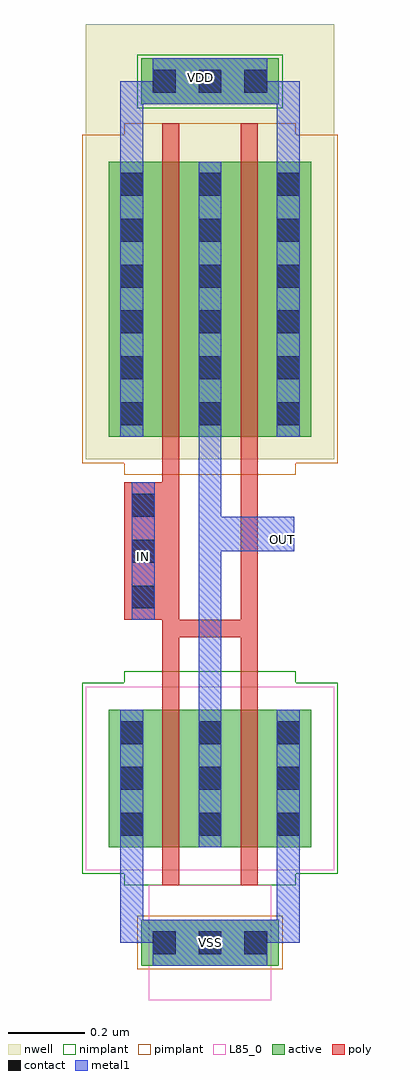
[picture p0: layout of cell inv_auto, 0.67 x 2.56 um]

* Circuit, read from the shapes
.subckt inv_auto IN OUT VDD VSS
M1 OUT IN VSS VSS nfet w=0.36u l=0.045u m=2
M2 OUT IN VDD VDD pfet w=0.72u l=0.045u m=2
.ends

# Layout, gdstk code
import gdstk
lib = gdstk.Library(unit=1e-6, precision=5e-10)
def R(c, l, rs):  # rectangles x0, y0, x1, y1
    for r in rs: c.add(gdstk.rectangle(r[:2], r[2:], *l))
def A(c, l, x, y, w, h, nx, ny, dx, dy):  # array of equal rectangles
    R(c, l, [(x+i*dx, y+j*dy, x+i*dx+w, y+j*dy+h) for i in range(nx) for j in range(ny)])
active = (1, 0)
nwell = (2, 0)
poly = (3, 0)
nimplant = (4, 0)
pimplant = (5, 0)
contact = (6, 0)
metal1 = (7, 0)
L85_0 = (85, 0)

pmos1v_cdns_764809496360 = lib.new_cell('pmos1v_CDNS_764809496360')
R(pmos1v_cdns_764809496360, active, [(-0.14,0,0,0.72), (0,0,0.045,0.72), (0.045,0,0.205,0.72), (0.205,0,0.25,0.72), (0.25,0,0.39,0.72)])
R(pmos1v_cdns_764809496360, nwell, [(-0.2,-0.06,0.45,0.78)])
R(pmos1v_cdns_764809496360, poly, [(0,-0.1,0.045,-0.05), (0.205,-0.1,0.25,-0.05), (0,-0.05,0.045,0), (0.205,-0.05,0.25,0), (0,0,0.045,0.72), (0.205,0,0.25,0.72), (0,0.72,0.045,0.77), (0.205,0.72,0.25,0.77), (0,0.77,0.045,0.82), (0.205,0.77,0.25,0.82)])
R(pmos1v_cdns_764809496360, pimplant, [(-0.1,-0.1,0.35,0.82), (-0.21,-0.07,0.46,0.79)])
A(pmos1v_cdns_764809496360, contact, -0.11, 0.03, 0.06, 0.06, 3, 6, 0.205, 0.12)
A(pmos1v_cdns_764809496360, metal1, -0.11, 0, 0.06, 0.72, 3, 1, 0.205, 0)
pmos1v_cdns_764809496360.add(gdstk.Label('S_source_2', (0.32,0.36), layer=1, texttype=0))
pmos1v_cdns_764809496360.add(gdstk.Label('S_source_0', (-0.07,0.36), layer=1, texttype=0))
pmos1v_cdns_764809496360.add(gdstk.Label('G_gate_2', (0.2275,-0.075), layer=3, texttype=0))
pmos1v_cdns_764809496360.add(gdstk.Label('G_gate_2', (0.2275,0.795), layer=3, texttype=0))
pmos1v_cdns_764809496360.add(gdstk.Label('G_gate_1', (0.0225,-0.075), layer=3, texttype=0))
pmos1v_cdns_764809496360.add(gdstk.Label('G_gate_1', (0.0225,0.795), layer=3, texttype=0))
pmos1v_cdns_764809496360.add(gdstk.Label('S_source_2', (0.33,0.36), layer=7, texttype=0))
pmos1v_cdns_764809496360.add(gdstk.Label('D_drain_1', (0.125,0.36), layer=7, texttype=0))
pmos1v_cdns_764809496360.add(gdstk.Label('S_source_0', (-0.08,0.36), layer=7, texttype=0))
pmos1v_cdns_764809496360.add(gdstk.Label('B', (0.125,0.36), layer=2, texttype=0))

nmos1v_cdns_764809496361 = lib.new_cell('nmos1v_CDNS_764809496361')
R(nmos1v_cdns_764809496361, active, [(-0.14,0,0,0.36), (0,0,0.045,0.36), (0.045,0,0.205,0.36), (0.205,0,0.25,0.36), (0.25,0,0.39,0.36)])
R(nmos1v_cdns_764809496361, poly, [(0,-0.1,0.045,-0.05), (0.205,-0.1,0.25,-0.05), (0,-0.05,0.045,0), (0.205,-0.05,0.25,0), (0,0,0.045,0.36), (0.205,0,0.25,0.36), (0,0.36,0.045,0.41), (0.205,0.36,0.25,0.41), (0,0.41,0.045,0.46), (0.205,0.41,0.25,0.46)])
R(nmos1v_cdns_764809496361, nimplant, [(-0.1,-0.1,0.35,0.46), (-0.21,-0.07,0.46,0.43)])
A(nmos1v_cdns_764809496361, contact, -0.11, 0.03, 0.06, 0.06, 3, 3, 0.205, 0.12)
A(nmos1v_cdns_764809496361, metal1, -0.11, 0, 0.06, 0.36, 3, 1, 0.205, 0)
R(nmos1v_cdns_764809496361, L85_0, [(-0.2,-0.06,0.45,0.42)])
nmos1v_cdns_764809496361.add(gdstk.Label('S_source_2', (0.32,0.18), layer=1, texttype=0))
nmos1v_cdns_764809496361.add(gdstk.Label('S_source_0', (-0.07,0.18), layer=1, texttype=0))
nmos1v_cdns_764809496361.add(gdstk.Label('G_gate_2', (0.2275,-0.075), layer=3, texttype=0))
nmos1v_cdns_764809496361.add(gdstk.Label('G_gate_2', (0.2275,0.435), layer=3, texttype=0))
nmos1v_cdns_764809496361.add(gdstk.Label('G_gate_1', (0.0225,-0.075), layer=3, texttype=0))
nmos1v_cdns_764809496361.add(gdstk.Label('G_gate_1', (0.0225,0.435), layer=3, texttype=0))
nmos1v_cdns_764809496361.add(gdstk.Label('S_source_2', (0.33,0.18), layer=7, texttype=0))
nmos1v_cdns_764809496361.add(gdstk.Label('D_drain_1', (0.125,0.18), layer=7, texttype=0))
nmos1v_cdns_764809496361.add(gdstk.Label('S_source_0', (-0.08,0.18), layer=7, texttype=0))
nmos1v_cdns_764809496361.add(gdstk.Label('B', (0.125,0.18), layer=85, texttype=0))

m1_po_cdns_764809496360 = lib.new_cell('M1_PO_CDNS_764809496360')
R(m1_po_cdns_764809496360, poly, [(-0.05,-0.18,0.05,0.18)])
A(m1_po_cdns_764809496360, contact, -0.03, -0.15, 0.06, 0.06, 1, 3, 0, 0.12)
R(m1_po_cdns_764809496360, metal1, [(-0.03,-0.18,0.03,0.18)])

m1_nwell_cdns_7648094963 = lib.new_cell('M1_NWELL_CDNS_764809496361')
R(m1_nwell_cdns_7648094963, active, [(-0.18,-0.06,0.18,0.06)])
R(m1_nwell_cdns_7648094963, nwell, [(-0.21,-0.15,0.21,0.15)])
R(m1_nwell_cdns_7648094963, nimplant, [(-0.19,-0.07,0.19,0.07)])
A(m1_nwell_cdns_7648094963, contact, -0.15, -0.03, 0.06, 0.06, 3, 1, 0.12, 0)
R(m1_nwell_cdns_7648094963, metal1, [(-0.15,-0.06,0.15,0.06)])

m1_psub_cdns_76480949636 = lib.new_cell('M1_PSUB_CDNS_764809496362')
R(m1_psub_cdns_76480949636, active, [(-0.18,-0.06,0.18,0.06)])
R(m1_psub_cdns_76480949636, pimplant, [(-0.19,-0.07,0.19,0.07)])
A(m1_psub_cdns_76480949636, contact, -0.15, -0.03, 0.06, 0.06, 3, 1, 0.12, 0)
R(m1_psub_cdns_76480949636, metal1, [(-0.15,-0.06,0.15,0.06)])
R(m1_psub_cdns_76480949636, L85_0, [(-0.16,-0.15,0.16,0.15)])

inv_auto = lib.new_cell('inv_auto')
R(inv_auto, nwell, [(0.675,2.03,1.325,2.33)])
R(inv_auto, metal1, [(0.97,-0.105,1.03,-0.045), (0.795,0.905,0.855,0.965), (1.16,0.95,1.22,1.01), (0.945,2.16,1.005,2.22)])
inv_auto.add(gdstk.FlexPath([(1.1025,1.15),(1.1025,0.7475)], 0.045, ends=(0, 0.0225), simple_path=True, layer=3, datatype=0))  # poly
inv_auto.add(gdstk.FlexPath([(0.8975,0.7475),(1.1025,0.7475)], 0.045, ends="extended", simple_path=True, layer=3, datatype=0))  # poly
inv_auto.add(gdstk.FlexPath([(0.8975,0.7475),(0.8975,0.635)], 0.045, ends=(0.0225, 0), simple_path=True, layer=3, datatype=0))  # poly
inv_auto.add(gdstk.FlexPath([(1.1025,0.7475),(1.1025,0.635)], 0.045, ends=(0.0225, 0), simple_path=True, layer=3, datatype=0))  # poly
inv_auto.add(gdstk.FlexPath([(0.8975,1.15),(0.8975,0.7475)], 0.045, ends=(0, 0.0225), simple_path=True, layer=3, datatype=0))  # poly
inv_auto.add(gdstk.FlexPath([(0.795,2.15),(0.795,1.97)], 0.06, ends=(0.03, 0), simple_path=True, layer=7, datatype=0))  # metal1
inv_auto.add(gdstk.FlexPath([(1,2.15),(0.795,2.15)], 0.06, ends=(0.15, 0.03), simple_path=True, layer=7, datatype=0))  # metal1
inv_auto.add(gdstk.FlexPath([(0.795,0.175),(0.795,-0.045)], 0.06, ends=(0, 0.03), simple_path=True, layer=7, datatype=0))  # metal1
inv_auto.add(gdstk.FlexPath([(1,2.18),(1,2.15)], 0.3, ends=(0, 0.03), simple_path=True, layer=7, datatype=0))  # metal1
inv_auto.add(gdstk.FlexPath([(1,2.15),(1.205,2.15)], 0.06, ends=(0.15, 0.03), simple_path=True, layer=7, datatype=0))  # metal1
inv_auto.add(gdstk.FlexPath([(1.205,2.15),(1.205,1.97)], 0.06, ends=(0.03, 0), simple_path=True, layer=7, datatype=0))  # metal1
inv_auto.add(gdstk.FlexPath([(1.205,-0.045),(0.795,-0.045)], 0.06, ends="extended", simple_path=True, layer=7, datatype=0))  # metal1
inv_auto.add(gdstk.FlexPath([(1,0.98),(1.19,0.98)], 0.06, ends="extended", simple_path=True, layer=7, datatype=0))  # metal1
inv_auto.add(gdstk.FlexPath([(1,0.205),(1,0.98)], 0.06, ends="extended", simple_path=True, layer=7, datatype=0))  # metal1
inv_auto.add(gdstk.FlexPath([(1,1.01),(1,1.94)], 0.06, ends="extended", simple_path=True, layer=7, datatype=0))  # metal1
inv_auto.add(gdstk.FlexPath([(1.19,1.01),(1,1.01)], 0.06, ends="extended", simple_path=True, layer=7, datatype=0))  # metal1
inv_auto.add(gdstk.FlexPath([(1.19,0.98),(1.19,1.01)], 0.06, ends="extended", simple_path=True, layer=7, datatype=0))  # metal1
inv_auto.add(gdstk.FlexPath([(1.205,0.175),(1.205,-0.045)], 0.06, ends=(0, 0.03), simple_path=True, layer=7, datatype=0))  # metal1
inv_auto.add(gdstk.Reference(pmos1v_cdns_764809496360, (0.875,1.25)))
inv_auto.add(gdstk.Reference(nmos1v_cdns_764809496361, (0.875,0.175)))
inv_auto.add(gdstk.Reference(m1_po_cdns_764809496360, (0.825,0.95)))
inv_auto.add(gdstk.Reference(m1_nwell_cdns_7648094963, (1,2.18)))
inv_auto.add(gdstk.Reference(m1_psub_cdns_76480949636, (1,-0.075)))
inv_auto.add(gdstk.Label('VSS', (1,-0.075), layer=7, texttype=0))
inv_auto.add(gdstk.Label('VDD', (0.975,2.19), layer=7, texttype=0))
inv_auto.add(gdstk.Label('OUT', (1.19,0.98), layer=7, texttype=0))
inv_auto.add(gdstk.Label('IN', (0.825,0.935), layer=7, texttype=0))
inv_auto.add(gdstk.Label('VSS', (1,-0.075), layer=63, texttype=0))
inv_auto.add(gdstk.Label('VDD', (0.975,2.19), layer=63, texttype=0))
inv_auto.add(gdstk.Label('OUT', (1.19,0.98), layer=63, texttype=0))
inv_auto.add(gdstk.Label('IN', (0.825,0.935), layer=63, texttype=0))

lib.write_gds('inv_auto.gds')
